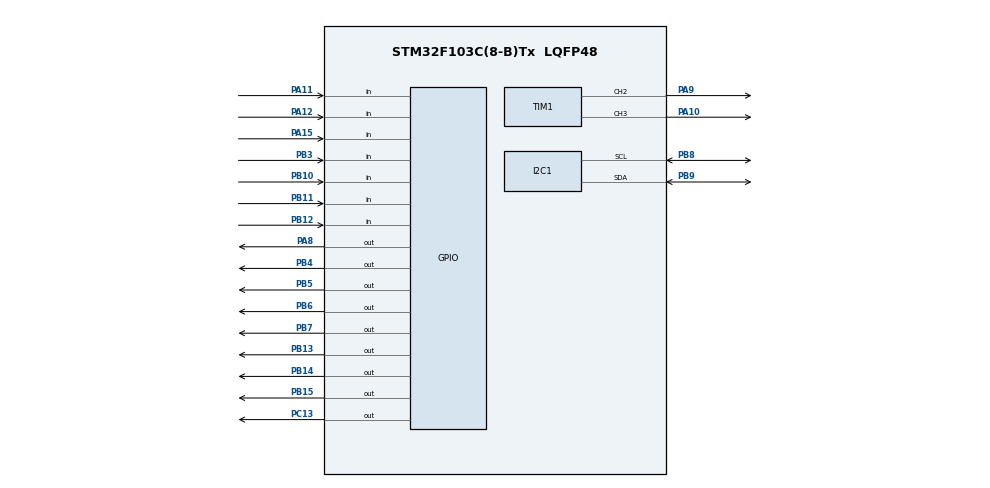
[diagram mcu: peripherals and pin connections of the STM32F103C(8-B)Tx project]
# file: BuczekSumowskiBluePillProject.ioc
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Mcu.Family=STM32F1
Mcu.Name=STM32F103C(8-B)Tx
Mcu.Package=LQFP48
NVIC.PriorityGroup=NVIC_PRIORITYGROUP_4
PA10.Signal=S_TIM1_CH3
PA11.Signal=GPIO_Input
PA12.Signal=GPIO_Input
PA15.Signal=GPIO_Input
PA8.Signal=GPIO_Output
PA9.Signal=S_TIM1_CH2
PB10.Signal=GPIO_Input
PB11.Signal=GPIO_Input
PB12.Signal=GPIO_Input
PB13.Signal=GPIO_Output
PB14.Signal=GPIO_Output
PB15.Signal=GPIO_Output
PB3.Signal=GPIO_Input
PB4.Signal=GPIO_Output
PB5.Signal=GPIO_Output
PB6.Signal=GPIO_Output
PB7.Signal=GPIO_Output
PB8.Mode=I2C
PB8.Signal=I2C1_SCL
PB9.Mode=I2C
PB9.Signal=I2C1_SDA
PC13-TAMPER-RTC.Signal=GPIO_Output
ProjectManager.HeapSize=0x200
ProjectManager.StackSize=0x400
ProjectManager.TargetToolchain=STM32CubeIDE
RCC.APB1Freq_Value=8000000
RCC.APB2Freq_Value=8000000
SH.S_TIM1_CH2.0=TIM1_CH2,PWM Generation2 CH2
SH.S_TIM1_CH3.0=TIM1_CH3,PWM Generation3 CH3
TIM1.AutoReloadPreload=TIM_AUTORELOAD_PRELOAD_ENABLE
TIM1.Channel-PWM\ Generation2\ CH2=TIM_CHANNEL_2
TIM1.Channel-PWM\ Generation3\ CH3=TIM_CHANNEL_3
VP_TIM1_VS_ClockSourceINT.Mode=Internal
board=custom

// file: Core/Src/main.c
/* USER CODE BEGIN Header */
/**
  ******************************************************************************
  * @file           : main.c
  * @brief          : Main program body
  ******************************************************************************
  * @attention
  *
  * Copyright (c) 2023 STMicroelectronics.
  * All rights reserved.
  *
  * This software is licensed under terms that can be found in the LICENSE file
  * in the root directory of this software component.
  * If no LICENSE file comes with this software, it is provided AS-IS.
  *
  ******************************************************************************
  */
/* USER CODE END Header */
#include "main.h"

/* USER CODE BEGIN Includes */

#include <stdbool.h>
#include "vl53l0x_api.h"

/* USER CODE END Includes */

/* USER CODE BEGIN PTD */

enum Rotation {
  CLOCKWISE,
  COUNTER_CLOCKWISE
};

enum Side {
	RIGHT,
	LEFT
};

enum IRSensorPosition {
	FRONT_RIGHT,
	FRONT_LEFT,
	BACK_MIDDLE
};

enum ActionState {
	FIND,
	ATTACK
};

/* USER CODE END PTD */

/* USER CODE BEGIN PD */

#define AIN1_PORT GPIOA
#define AIN1_PIN GPIO_PIN_8
#define AIN2_PORT GPIOB
#define AIN2_PIN GPIO_PIN_15

#define BIN1_PORT GPIOB
#define BIN1_PIN GPIO_PIN_13
#define BIN2_PORT GPIOB
#define BIN2_PIN GPIO_PIN_14

#define IR_FRONT_RIGHT_PORT
#define IR_FRONT_RIGHT_PIN
#define IR_FRONT_LEFT_PORT
#define IR_FRONT_LEFT_PIN
#define IR_BACK_MIDDLE_PORT
#define IR_BACK_MIDDLE_PIN

/* USER CODE END PD */

I2C_HandleTypeDef hi2c1;

TIM_HandleTypeDef htim1;

void SystemClock_Config(void);
static void MX_GPIO_Init(void);
static void MX_I2C1_Init(void);
static void MX_TIM1_Init(void);
/* USER CODE BEGIN PFP */

void initLasers();

/* USER CODE END PFP */

/* USER CODE BEGIN 0 */

VL53L0X_RangingMeasurementData_t RangingData;
VL53L0X_Dev_t vl53l0x_c; // center module
VL53L0X_DEV Dev = &vl53l0x_c;

uint16_t measument;

int i;

enum ActionState action_state;

//speed = 0 to 255
void runMotor(enum Side motor_side, enum Rotation rot, uint8_t speed) {\
  GPIO_TypeDef *controll_port1;
  int controll_pin1;
  GPIO_TypeDef *controll_port2;
  int controll_pin2;

  volatile uint32_t *pwm_channel;

  if (motor_side == RIGHT) {
	controll_port1 = BIN1_PORT;
	controll_pin1 = BIN1_PIN;
	controll_port2 = BIN2_PORT;
	controll_pin2 = BIN2_PIN;

	pwm_channel = &TIM1->CCR3;
  } else if (motor_side == LEFT) {
	controll_port1 = AIN2_PORT;
	controll_pin1 = AIN2_PIN;
	controll_port2 = AIN1_PORT;
	controll_pin2 = AIN1_PIN;

	pwm_channel = &TIM1->CCR2;
  }

  int value;

  if (rot == CLOCKWISE) {
    value = GPIO_PIN_RESET;
  } else if (rot == COUNTER_CLOCKWISE) {
    value = GPIO_PIN_SET;
  }

  HAL_GPIO_WritePin(controll_port1, controll_pin1, value);
  HAL_GPIO_WritePin(controll_port2, controll_pin2, !value);

  //max pwm value: 65535
  int converted_speed = (((float) speed)*(65535/255));
  *pwm_channel = converted_speed;

}

bool readLineSensor(enum IRSensorPosition ir_sensor_pos) {
	return true;
}

/* USER CODE END 0 */

int main(void)
{

  /* MCU Configuration--------------------------------------------------------*/

  /* Reset of all peripherals, Initializes the Flash interface and the Systick. */
  HAL_Init();

  /* Configure the system clock */
  SystemClock_Config();

  /* Initialize all configured peripherals */
  MX_GPIO_Init();
  MX_I2C1_Init();
  MX_TIM1_Init();
  /* USER CODE BEGIN 2 */

  	initLasers();

	HAL_TIM_PWM_Start(&htim1, TIM_CHANNEL_2);
	HAL_TIM_PWM_Start(&htim1, TIM_CHANNEL_3);
	//HAL_TIM_PWM_Start(&htim1, TIM_CHANNEL_3);
  /* USER CODE END 2 */

  /* Infinite loop */
  /* USER CODE BEGIN WHILE */
  while (1)
  {
	  /*HAL_GPIO_WritePin(AIN1_PORT, AIN1_PIN, GPIO_PIN_SET);
	  HAL_GPIO_WritePin(AIN2_PORT, AIN2_PIN, GPIO_PIN_RESET);

	  HAL_GPIO_WritePin(BIN1_PORT, BIN1_PIN, GPIO_PIN_SET);
	  HAL_GPIO_WritePin(BIN2_PORT, BIN2_PIN, GPIO_PIN_RESET);

	  TIM1->CCR2 = 65535; //ch 2 - pwma
*/

	  runMotor(RIGHT, CLOCKWISE, 100);
	  runMotor(LEFT, CLOCKWISE, 100);
	  HAL_Delay(500);

	  /*VL53L0X_PerformSingleRangingMeasurement(Dev, &RangingData);

	  if(RangingData.RangeStatus == 0)
	  {
		  measument = RangingData.RangeMilliMeter;
		  i++;
		  //MessageLen = sprintf((char*)Message, "Measured distance: %i\n\r", RangingData.RangeMilliMeter);
		  //HAL_UART_Transmit(&huart2, Message, MessageLen, 100);
	  }*/

    /* USER CODE END WHILE */

  }
}

void SystemClock_Config(void)
{
  RCC_OscInitTypeDef RCC_OscInitStruct = {0};
  RCC_ClkInitTypeDef RCC_ClkInitStruct = {0};

  /** Initializes the RCC Oscillators according to the specified parameters
  * in the RCC_OscInitTypeDef structure.
  */
  RCC_OscInitStruct.OscillatorType = RCC_OSCILLATORTYPE_HSI;
  RCC_OscInitStruct.HSIState = RCC_HSI_ON;
  RCC_OscInitStruct.HSICalibrationValue = RCC_HSICALIBRATION_DEFAULT;
  RCC_OscInitStruct.PLL.PLLState = RCC_PLL_NONE;
  if (HAL_RCC_OscConfig(&RCC_OscInitStruct) != HAL_OK)
  {
    Error_Handler();
  }

  /** Initializes the CPU, AHB and APB buses clocks
  */
  RCC_ClkInitStruct.ClockType = RCC_CLOCKTYPE_HCLK|RCC_CLOCKTYPE_SYSCLK
                              |RCC_CLOCKTYPE_PCLK1|RCC_CLOCKTYPE_PCLK2;
  RCC_ClkInitStruct.SYSCLKSource = RCC_SYSCLKSOURCE_HSI;
  RCC_ClkInitStruct.AHBCLKDivider = RCC_SYSCLK_DIV1;
  RCC_ClkInitStruct.APB1CLKDivider = RCC_HCLK_DIV1;
  RCC_ClkInitStruct.APB2CLKDivider = RCC_HCLK_DIV1;

  if (HAL_RCC_ClockConfig(&RCC_ClkInitStruct, FLASH_LATENCY_0) != HAL_OK)
  {
    Error_Handler();
  }
}

static void MX_I2C1_Init(void)
{

  hi2c1.Instance = I2C1;
  hi2c1.Init.ClockSpeed = 100000;
  hi2c1.Init.DutyCycle = I2C_DUTYCYCLE_2;
  hi2c1.Init.OwnAddress1 = 0;
  hi2c1.Init.AddressingMode = I2C_ADDRESSINGMODE_7BIT;
  hi2c1.Init.DualAddressMode = I2C_DUALADDRESS_DISABLE;
  hi2c1.Init.OwnAddress2 = 0;
  hi2c1.Init.GeneralCallMode = I2C_GENERALCALL_DISABLE;
  hi2c1.Init.NoStretchMode = I2C_NOSTRETCH_DISABLE;
  if (HAL_I2C_Init(&hi2c1) != HAL_OK)
  {
    Error_Handler();
  }

}

static void MX_TIM1_Init(void)
{

  TIM_ClockConfigTypeDef sClockSourceConfig = {0};
  TIM_MasterConfigTypeDef sMasterConfig = {0};
  TIM_OC_InitTypeDef sConfigOC = {0};
  TIM_BreakDeadTimeConfigTypeDef sBreakDeadTimeConfig = {0};

  htim1.Instance = TIM1;
  htim1.Init.Prescaler = 0;
  htim1.Init.CounterMode = TIM_COUNTERMODE_UP;
  htim1.Init.Period = 65535;
  htim1.Init.ClockDivision = TIM_CLOCKDIVISION_DIV1;
  htim1.Init.RepetitionCounter = 0;
  htim1.Init.AutoReloadPreload = TIM_AUTORELOAD_PRELOAD_ENABLE;
  if (HAL_TIM_Base_Init(&htim1) != HAL_OK)
  {
    Error_Handler();
  }
  sClockSourceConfig.ClockSource = TIM_CLOCKSOURCE_INTERNAL;
  if (HAL_TIM_ConfigClockSource(&htim1, &sClockSourceConfig) != HAL_OK)
  {
    Error_Handler();
  }
  if (HAL_TIM_PWM_Init(&htim1) != HAL_OK)
  {
    Error_Handler();
  }
  sMasterConfig.MasterOutputTrigger = TIM_TRGO_RESET;
  sMasterConfig.MasterSlaveMode = TIM_MASTERSLAVEMODE_DISABLE;
  if (HAL_TIMEx_MasterConfigSynchronization(&htim1, &sMasterConfig) != HAL_OK)
  {
    Error_Handler();
  }
  sConfigOC.OCMode = TIM_OCMODE_PWM1;
  sConfigOC.Pulse = 0;
  sConfigOC.OCPolarity = TIM_OCPOLARITY_HIGH;
  sConfigOC.OCNPolarity = TIM_OCNPOLARITY_HIGH;
  sConfigOC.OCFastMode = TIM_OCFAST_DISABLE;
  sConfigOC.OCIdleState = TIM_OCIDLESTATE_RESET;
  sConfigOC.OCNIdleState = TIM_OCNIDLESTATE_RESET;
  if (HAL_TIM_PWM_ConfigChannel(&htim1, &sConfigOC, TIM_CHANNEL_2) != HAL_OK)
  {
    Error_Handler();
  }
  if (HAL_TIM_PWM_ConfigChannel(&htim1, &sConfigOC, TIM_CHANNEL_3) != HAL_OK)
  {
    Error_Handler();
  }
  sBreakDeadTimeConfig.OffStateRunMode = TIM_OSSR_DISABLE;
  sBreakDeadTimeConfig.OffStateIDLEMode = TIM_OSSI_DISABLE;
  sBreakDeadTimeConfig.LockLevel = TIM_LOCKLEVEL_OFF;
  sBreakDeadTimeConfig.DeadTime = 0;
  sBreakDeadTimeConfig.BreakState = TIM_BREAK_DISABLE;
  sBreakDeadTimeConfig.BreakPolarity = TIM_BREAKPOLARITY_HIGH;
  sBreakDeadTimeConfig.AutomaticOutput = TIM_AUTOMATICOUTPUT_DISABLE;
  if (HAL_TIMEx_ConfigBreakDeadTime(&htim1, &sBreakDeadTimeConfig) != HAL_OK)
  {
    Error_Handler();
  }
  HAL_TIM_MspPostInit(&htim1);

}

static void MX_GPIO_Init(void)
{
  GPIO_InitTypeDef GPIO_InitStruct = {0};

  /* GPIO Ports Clock Enable */
  __HAL_RCC_GPIOC_CLK_ENABLE();
  __HAL_RCC_GPIOB_CLK_ENABLE();
  __HAL_RCC_GPIOA_CLK_ENABLE();

  /*Configure GPIO pin Output Level */
  HAL_GPIO_WritePin(GPIOC, GPIO_PIN_13, GPIO_PIN_RESET);

  /*Configure GPIO pin Output Level */
  HAL_GPIO_WritePin(GPIOB, GPIO_PIN_13|GPIO_PIN_14|GPIO_PIN_15|GPIO_PIN_4
                          |GPIO_PIN_5|GPIO_PIN_6|GPIO_PIN_7, GPIO_PIN_RESET);

  /*Configure GPIO pin Output Level */
  HAL_GPIO_WritePin(GPIOA, GPIO_PIN_8, GPIO_PIN_RESET);

  /*Configure GPIO pin : PC13 */
  GPIO_InitStruct.Pin = GPIO_PIN_13;
  GPIO_InitStruct.Mode = GPIO_MODE_OUTPUT_PP;
  GPIO_InitStruct.Pull = GPIO_NOPULL;
  GPIO_InitStruct.Speed = GPIO_SPEED_FREQ_LOW;
  HAL_GPIO_Init(GPIOC, &GPIO_InitStruct);

  /*Configure GPIO pins : PB10 PB11 PB12 PB3 */
  GPIO_InitStruct.Pin = GPIO_PIN_10|GPIO_PIN_11|GPIO_PIN_12|GPIO_PIN_3;
  GPIO_InitStruct.Mode = GPIO_MODE_INPUT;
  GPIO_InitStruct.Pull = GPIO_NOPULL;
  HAL_GPIO_Init(GPIOB, &GPIO_InitStruct);

  /*Configure GPIO pins : PB13 PB14 PB15 PB4
                           PB5 PB6 PB7 */
  GPIO_InitStruct.Pin = GPIO_PIN_13|GPIO_PIN_14|GPIO_PIN_15|GPIO_PIN_4
                          |GPIO_PIN_5|GPIO_PIN_6|GPIO_PIN_7;
  GPIO_InitStruct.Mode = GPIO_MODE_OUTPUT_PP;
  GPIO_InitStruct.Pull = GPIO_NOPULL;
  GPIO_InitStruct.Speed = GPIO_SPEED_FREQ_LOW;
  HAL_GPIO_Init(GPIOB, &GPIO_InitStruct);

  /*Configure GPIO pin : PA8 */
  GPIO_InitStruct.Pin = GPIO_PIN_8;
  GPIO_InitStruct.Mode = GPIO_MODE_OUTPUT_PP;
  GPIO_InitStruct.Pull = GPIO_NOPULL;
  GPIO_InitStruct.Speed = GPIO_SPEED_FREQ_LOW;
  HAL_GPIO_Init(GPIOA, &GPIO_InitStruct);

  /*Configure GPIO pins : PA11 PA12 PA15 */
  GPIO_InitStruct.Pin = GPIO_PIN_11|GPIO_PIN_12|GPIO_PIN_15;
  GPIO_InitStruct.Mode = GPIO_MODE_INPUT;
  GPIO_InitStruct.Pull = GPIO_NOPULL;
  HAL_GPIO_Init(GPIOA, &GPIO_InitStruct);

}

/* USER CODE BEGIN 4 */

void initLasers() {

	//
	// VL53L0X initialization stuff
	//
	uint32_t refSpadCount;
	uint8_t isApertureSpads;
	uint8_t VhvSettings;
	uint8_t PhaseCal;
	//MessageLen = sprintf((char*)Message, "msalamon.pl VL53L0X test\n\r");
	//HAL_UART_Transmit(&huart2, Message, MessageLen, 100);

	Dev->I2cHandle = &hi2c1;
	Dev->I2cDevAddr = 0x52;

	HAL_GPIO_WritePin(GPIOB, GPIO_PIN_7, GPIO_PIN_RESET); // Disable XSHUT
	HAL_Delay(100);
	HAL_GPIO_WritePin(GPIOB, GPIO_PIN_7, GPIO_PIN_SET); // Enable XSHUT
	HAL_Delay(100);

	//
	// VL53L0X init for Single Measurement
	//

	VL53L0X_WaitDeviceBooted( Dev );
	VL53L0X_DataInit( Dev );
	VL53L0X_StaticInit( Dev);
	VL53L0X_PerformRefCalibration(Dev, &VhvSettings, &PhaseCal);
	VL53L0X_PerformRefSpadManagement(Dev, &refSpadCount, &isApertureSpads);
	VL53L0X_SetDeviceMode(Dev, VL53L0X_DEVICEMODE_SINGLE_RANGING);

	// Enable/Disable Sigma and Signal check
	VL53L0X_SetLimitCheckEnable(Dev, VL53L0X_CHECKENABLE_SIGMA_FINAL_RANGE, 1);
	VL53L0X_SetLimitCheckEnable(Dev, VL53L0X_CHECKENABLE_SIGNAL_RATE_FINAL_RANGE, 1);
	VL53L0X_SetLimitCheckValue(Dev, VL53L0X_CHECKENABLE_SIGNAL_RATE_FINAL_RANGE, (FixPoint1616_t)(0.1*65536));
	VL53L0X_SetLimitCheckValue(Dev, VL53L0X_CHECKENABLE_SIGMA_FINAL_RANGE, (FixPoint1616_t)(60*65536));
	VL53L0X_SetMeasurementTimingBudgetMicroSeconds(Dev, 33000);
	VL53L0X_SetVcselPulsePeriod(Dev, VL53L0X_VCSEL_PERIOD_PRE_RANGE, 18);
	VL53L0X_SetVcselPulsePeriod(Dev, VL53L0X_VCSEL_PERIOD_FINAL_RANGE, 14);
}

/* USER CODE END 4 */

void Error_Handler(void)
{
  __disable_irq();
  while (1)
  {
  }
}
